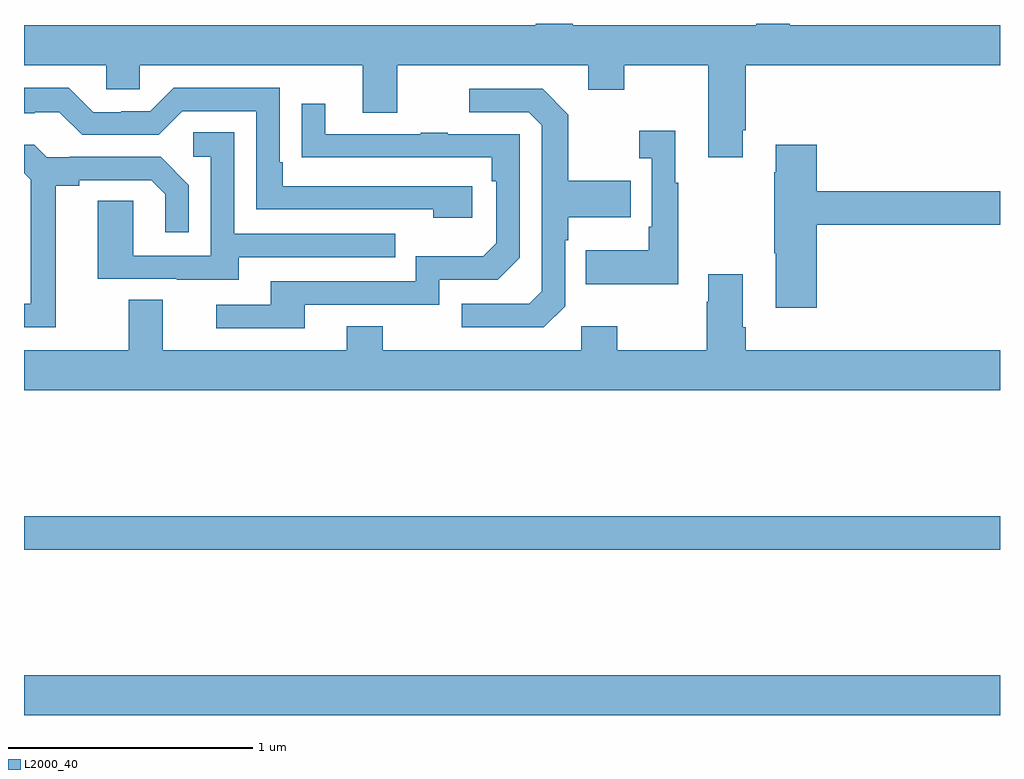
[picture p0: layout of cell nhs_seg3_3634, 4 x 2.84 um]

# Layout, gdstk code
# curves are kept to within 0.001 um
import gdstk
lib = gdstk.Library(unit=1e-6, precision=1e-09)
def R(c, l, rs):  # rectangles x0, y0, x1, y1
    for r in rs: c.add(gdstk.rectangle(r[:2], r[2:], *l))
def P(c, l, *ps):  # polygons
    for p in ps: c.add(gdstk.Polygon(p, *l))
L2000_40 = (2000, 40)

nhs_seg3_3634 = lib.new_cell('nhs_seg3_3634')
R(nhs_seg3_3634, L2000_40, [(299,719.564,303,719.728), (299,720.244,303,720.38)])
P(nhs_seg3_3634, L2000_40, [(301.945,721.963),(301.958,721.963),(301.958,722.228),(303,722.228),(303,722.392),(302.139,722.392),(302.139,722.4),(302.001,722.4),(302.001,722.392),(301.249,722.392),(301.249,722.4),(301.097,722.4),(301.097,722.392),(299,722.392),(299,722.228),(299.337,722.228),(299.337,722.13),(299.475,722.13),(299.475,722.228),(300.389,722.228),(300.389,722.034),(300.529,722.034),(300.529,722.228),(301.313,722.228),(301.313,722.129),(301.461,722.129),(301.461,722.228),(301.805,722.228),(301.805,721.851),(301.945,721.851)],
  [(300.838,721.734),(300.061,721.734),(300.061,721.831),(300.048,721.831),(300.048,722.136),(299.613,722.136),(299.517,722.04),(299.399,722.04),(299.399,722.037),(299.283,722.037),(299.183,722.137),(299,722.137),(299,722.033),(299.045,722.033),(299.045,722.037),(299.145,722.037),(299.238,721.944),(299.553,721.944),(299.649,722.04),(299.952,722.04),(299.952,721.638),(300.677,721.638),(300.677,721.604),(300.838,721.604)],
  [(301.218,721.242),(301.218,721.511),(301.231,721.511),(301.231,721.607),(301.487,721.607),(301.487,721.755),(301.231,721.755),(301.231,722.027),(301.125,722.133),(300.825,722.133),(300.825,722.037),(301.068,722.037),(301.122,721.983),(301.122,721.302),(301.071,721.251),(300.795,721.251),(300.795,721.155),(301.131,721.155)],
  [(300.151,721.248),(300.702,721.248),(300.702,721.35),(300.942,721.35),(301.032,721.44),(301.032,721.947),(300.737,721.947),(300.737,721.952),(300.625,721.952),(300.625,721.947),(300.235,721.947),(300.235,722.071),(300.139,722.071),(300.139,721.852),(300.916,721.851),(300.916,721.754),(300.936,721.754),(300.936,721.5),(300.883,721.447),(300.606,721.447),(300.606,721.344),(300.011,721.344),(300.011,721.248),(299.787,721.248),(299.787,721.152),(300.151,721.152)],
  [(301.681,721.747),(301.669,721.747),(301.669,721.96),(301.521,721.96),(301.521,721.847),(301.572,721.847),(301.572,721.567),(301.56,721.567),(301.56,721.471),(301.303,721.471),(301.303,721.331),(301.681,721.331)],
  [(299.881,721.443),(300.521,721.443),(300.521,721.539),(299.862,721.539),(299.862,721.955),(299.694,721.955),(299.694,721.854),(299.766,721.854),(299.766,721.449),(299.448,721.449),(299.448,721.673),(299.303,721.673),(299.303,721.353),(299.627,721.353),(299.627,721.349),(299.881,721.349)],
  [(299.131,721.736),(299.227,721.736),(299.227,721.758),(299.522,721.758),(299.579,721.701),(299.579,721.545),(299.676,721.545),(299.676,721.738),(299.56,721.854),(299.188,721.854),(299.188,721.851),(299.094,721.851),(299.042,721.903),(299,721.903),(299,721.786),(299.027,721.759),(299.027,721.251),(299,721.251),(299,721.155),(299.131,721.155)],
  [(302.249,721.576),(303,721.576),(303,721.712),(302.249,721.712),(302.249,721.903),(302.081,721.903),(302.081,721.79),(302.074,721.79),(302.074,721.459),(302.081,721.459),(302.081,721.236),(302.249,721.236)],
  [(303,721.06),(301.958,721.06),(301.958,721.156),(301.945,721.156),(301.945,721.372),(301.805,721.372),(301.805,721.259),(301.798,721.259),(301.798,721.06),(301.431,721.06),(301.431,721.159),(301.284,721.159),(301.284,721.06),(300.471,721.06),(300.471,721.159),(300.323,721.159),(300.323,721.06),(299.569,721.06),(299.569,721.268),(299.429,721.268),(299.429,721.06),(299,721.06),(299,720.896),(303,720.896)])

lib.write_gds('nhs_seg3_3634.gds')
